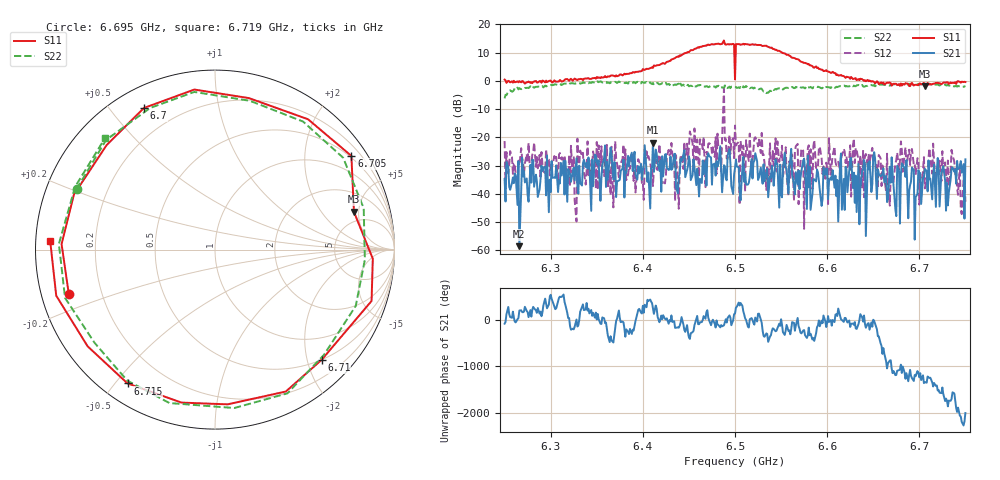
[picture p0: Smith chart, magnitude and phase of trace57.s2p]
# Hz S RI R 50
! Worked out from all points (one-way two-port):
!   401 points, 6.25 GHz to 6.75 GHz, reference 50 ohm
!   highest |S21| = -21.91 dB at 6.411 GHz (marker M1); lowest = -58.5 dB at 6.266 GHz (marker M2)
!   lowest |S11| = -1.9 dB at 6.706 GHz (marker M3), VSWR 9.11, Z = 187 + j221 ohm
!   |S11| at or under -10 dB: nowhere
!   |S22| runs from -6.2 to -0.1 dB; largest |S21 - S12| = 0.71
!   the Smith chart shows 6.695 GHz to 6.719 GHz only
!   S11 on the Smith chart (normalised r, x): 6.695 GHz: 0.08, -0.15; 6.7 GHz: 0.09, +0.61; 6.705 GHz: 0.45, +3.16; 6.71 GHz: 0.50, -2.27; 6.715 GHz: 0.07, -0.54; 6.719 GHz: 0.04, +0.02
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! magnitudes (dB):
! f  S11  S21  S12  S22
! 6.25 GHz  0.5  -34.7  -21.3  -6.2
! 6.266 GHz  -0.1  -58.5  -30.1  -2.6
! 6.334 GHz  0.6  -37.1  -26.6  -0.8
! 6.411 GHz  4.6  -21.9  -37.2  -0.7
! 6.418 GHz  5.6  -31.8  -22.4  -1.2
! 6.43 GHz  7.1  -26.8  -25.6  -1.1
! 6.438 GHz  8.7  -39.8  -35.7  -1.1
! 6.45 GHz  10.2  -26.7  -23.5  -1.9
! 6.5 GHz  0.5  -30.9  -15.8  -2.3
! 6.524 GHz  12.7  -28.5  -21.4  -2.6
! 6.536 GHz  12.1  -41.2  -37.2  -4.2
! 6.584 GHz  5.2  -40.0  -38.3  -2.6
! 6.668 GHz  -0.6  -30.4  -44.2  -1.7
! 6.684 GHz  -1.3  -31.0  -26.4  -1.3
! 6.695 GHz  -1.4  -56.2  -29.3  -1.5
! 6.7 GHz  -1.1  -32.5  -43.8  -1.4
! 6.705 GHz  -0.7  -34.1  -27.0  -1.5
! 6.706 GHz  -1.9  -31.1  -38.1  -1.5
! 6.71 GHz  -1.4  -28.2  -27.1  -1.0
! 6.715 GHz  -1.0  -33.7  -22.2  -1.1
! 6.719 GHz  -0.7  -31.8  -32.4  -1.2
! 6.75 GHz  -0.4  -27.8  -42.8  -2.1
